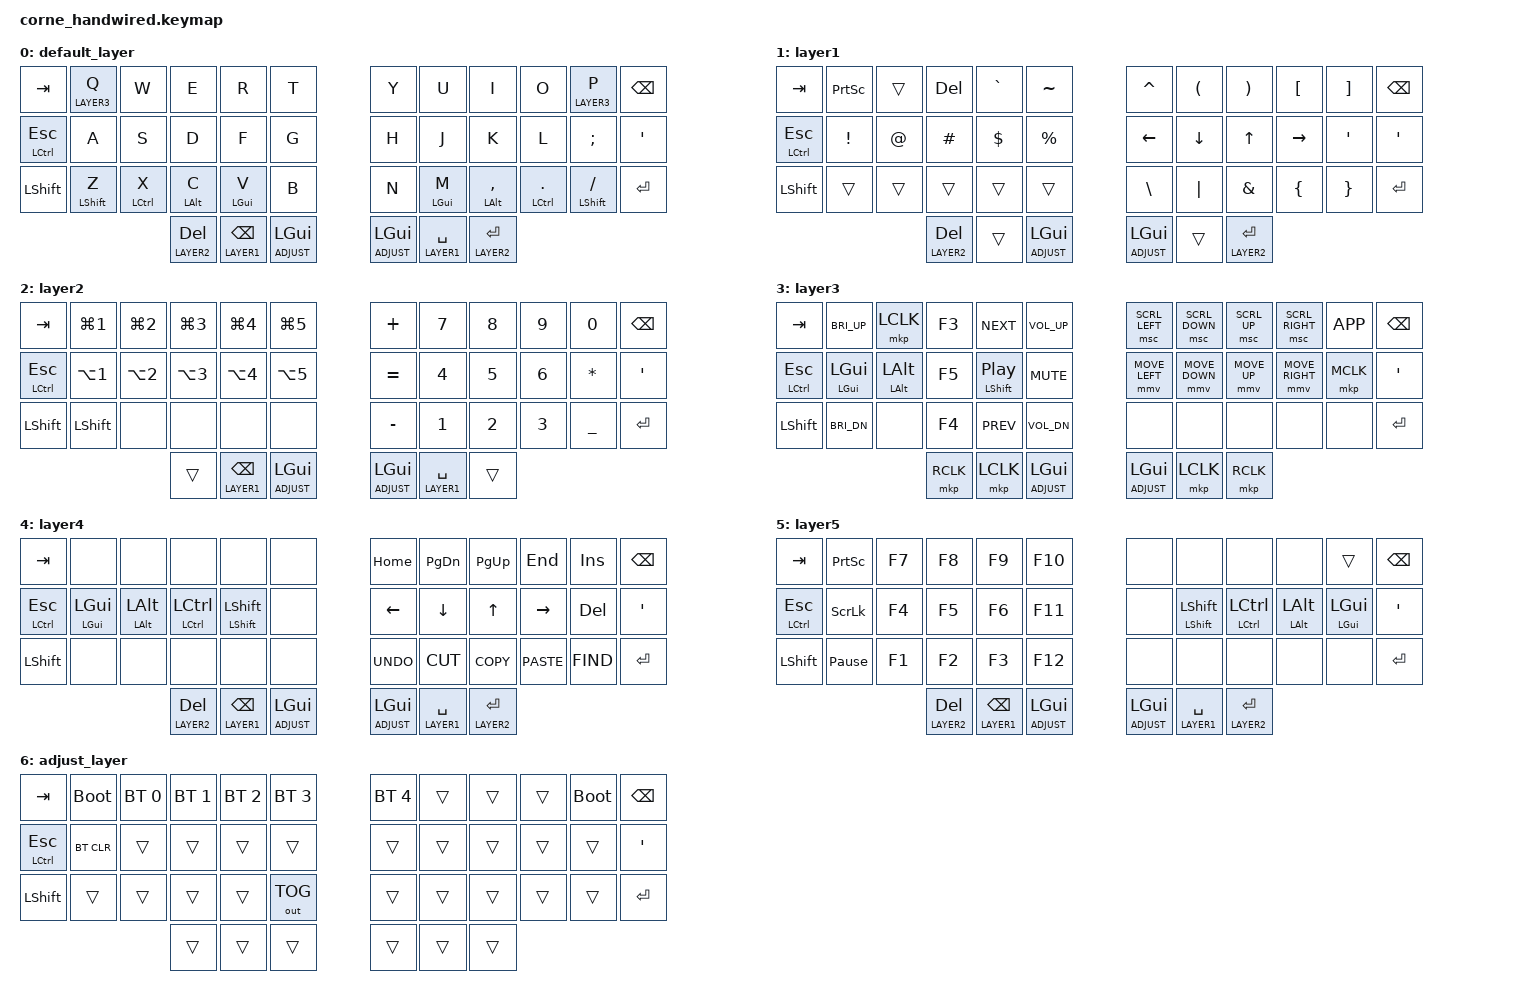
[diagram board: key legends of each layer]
/*
 * Corne Handwired Keymap
 */

#include <behaviors.dtsi>
#include <dt-bindings/zmk/keys.h>
#include <dt-bindings/zmk/bt.h>
#include <dt-bindings/zmk/outputs.h>
#include <dt-bindings/zmk/pointing.h>

#define DEFAULT 0
#define LAYER1  1
#define LAYER2  2
#define LAYER3  3
#define LAYER4  4
#define LAYER5  5
#define ADJUST  6

/ {
    macros {
        fat_arrow: fat_arrow {
            compatible = "zmk,behavior-macro";
            #binding-cells = <0>;
            bindings = <&kp EQUAL &kp GT>;
        };
    };

    keymap {
        compatible = "zmk,keymap";

        default_layer {
            // -----------------------------------------------------------------------------------------
            // |  TAB | L3/Q |  W  |  E  |  R  |  T  |   |  Y  |  U   |  I  |  O  | L3/P | BSPC |
            // | ESC/CTRL |  A  |  S  |  D  |  F  |  G  |   |  H  |  J   |  K  |  L  |  ;  |  '   |
            // | SHFT | SHFT/Z | CTRL/X | ALT/C | GUI/V |  B  |   |  N  | GUI/M | ALT/, | CTRL/. | SHFT// | RET  |
            //                    | L2/DEL | L1/BSPC | ADJ/GUI |   | ADJ/GUI | L1/SPC | L2/ENT |
            // Encoder button: play/pause | Encoder rotation: volume
            bindings = <
                &kp TAB       &lt LAYER3 Q &kp W &kp E &kp R &kp T     &kp Y &kp U &kp I     &kp O     &lt LAYER3 P    &kp BSPC
                &mt LCTRL ESC &kp A        &kp S &kp D &kp F &kp G     &kp H &kp J &kp K     &kp L     &kp SEMI        &kp SQT
                &kp LSHFT     &mt LSHFT Z  &mt LCTRL X &mt LEFT_ALT C &mt LGUI V &kp B     &kp N &mt LGUI M &mt LEFT_ALT COMMA &mt LCTRL DOT &mt LSHFT FSLH &kp RET
                                &lt LAYER2 DEL &lt LAYER1 BSPC &lt ADJUST LGUI   &lt ADJUST LGUI &lt LAYER1 SPACE &lt LAYER2 RET
            >;
        };

        layer1 {
            // -----------------------------------------------------------------------------------------
            // |  TAB | PSCR | TRNS | DEL | GRV | TILD |   | ^   | (   | )   | [   | ]   | BSPC |
            // | ESC/CTRL | !   | @   | #   | $   | %   |   | LFT | DWN | UP  | RGT | '   |  '   |
            // | SHFT | TRNS | TRNS | TRNS | TRNS | TRNS |   | \   | |   | &   | {   | }   | RET  |
            //                    | L2/DEL | L1/BSPC | ADJ/GUI |   | ADJ/GUI | L1/SPC | L2/ENT |
            // Encoder rotation: brightness
            bindings = <
                &kp TAB       &kp PSCRN &trans &kp DEL  &kp GRAVE &kp TILDE     &kp CARET &kp LPAR &kp RPAR &kp LBKT &kp RBKT &kp BSPC
                &mt LCTRL ESC &kp EXCL  &kp AT &kp HASH &kp DLLR  &kp PRCNT     &kp LEFT  &kp DOWN &kp UP   &kp RIGHT &kp SQT &kp SQT
                &kp LSHFT     &trans    &trans &trans   &trans    &trans        &kp BSLH  &kp PIPE &kp AMPS &kp LBRC &kp RBRC &kp RET
                                        &lt LAYER2 DEL &trans &lt ADJUST LGUI   &lt ADJUST LGUI &trans &lt LAYER2 RET
            >;
        };

        layer2 {
            // -----------------------------------------------------------------------------------------
            // |  TAB | GUI1 | GUI2 | GUI3 | GUI4 | GUI5 |   | +   | 7   | 8   | 9   | 0   | BSPC |
            // | ESC/CTRL | ALT1 | ALT2 | ALT3 | ALT4 | ALT5 |   | =   | 4   | 5   | 6   | *   |  '   |
            // | SHFT | SHFT | NONE | NONE | NONE | NONE |   | -   | 1   | 2   | 3   | _   | RET  |
            //                    | L2/DEL | L1/BSPC | ADJ/GUI |   | ADJ/GUI | L1/SPC | L2/ENT |
            bindings = <
                &kp TAB       &kp LG(N1) &kp LG(N2) &kp LG(N3) &kp LG(N4) &kp LG(N5)     &kp PLUS  &kp N7 &kp N8 &kp N9 &kp N0    &kp BSPC
                &mt LCTRL ESC &kp LA(N1) &kp LA(N2) &kp LA(N3) &kp LA(N4) &kp LA(N5)     &kp EQUAL &kp N4 &kp N5 &kp N6 &kp STAR  &kp SQT
                &kp LSHFT     &kp LSHFT  &none      &none      &none      &none          &kp MINUS &kp N1 &kp N2 &kp N3 &kp UNDER &kp RET
                                          &trans &lt LAYER1 BSPC &lt ADJUST LGUI   &lt ADJUST LGUI &lt LAYER1 SPACE &trans
            >;
        };

        layer3 {
            // -----------------------------------------------------------------------------------------
            // |  TAB | BRIU | LCLK | EXT_UP | MNXT | VOLU |   | WHLL | WHLD | WHLU | WHLR | APP  | BSPC |
            // | ESC/CTRL | GUI/TRNS | ALT/TRNS | EXT_DFL | SHFT/MPLY | MUTE |   | MLFT | MDWN | MUP  | MRGT | BTN3 |  '   |
            // | SHFT | BRID | NONE | EXT_DN | MPRV | VOLD |   | NONE | NONE | NONE | NONE | NONE | RET  |
            //                    | RCLK | LCLK | ADJ/GUI |   | ADJ/GUI | LCLK | RCLK |
            bindings = <
                &kp TAB       &kp C_BRI_UP &mkp LCLK &kp F3 &kp C_NEXT &kp C_VOL_UP     &msc SCRL_LEFT &msc SCRL_DOWN &msc SCRL_UP &msc SCRL_RIGHT &kp K_APP &kp BSPC
                &mt LCTRL ESC &mt LGUI LGUI &mt LEFT_ALT LEFT_ALT &kp F5 &mt LSHFT C_PP &kp C_MUTE     &mmv MOVE_LEFT &mmv MOVE_DOWN &mmv MOVE_UP &mmv MOVE_RIGHT &mkp MCLK &kp SQT
                &kp LSHFT     &kp C_BRI_DN &none &kp F4 &kp C_PREV &kp C_VOL_DN     &none &none &none &none &none &kp RET
                                          &mkp RCLK &mkp LCLK &lt ADJUST LGUI   &lt ADJUST LGUI &mkp LCLK &mkp RCLK
            >;
        };

        layer4 {
            // -----------------------------------------------------------------------------------------
            // |  TAB | NONE | NONE | NONE | NONE | NONE |   | HOME | PGDN | PGUP | END | INS | BSPC |
            // | ESC/CTRL | GUI/TRNS | ALT/TRNS | CTRL/TRNS | SHFT/TRNS | NONE |   | LEFT | DOWN | UP | RIGHT | DEL |  '   |
            // | SHFT | NONE | NONE | NONE | NONE | NONE |   | UNDO | CUT | COPY | PSTE | FIND | RET  |
            //                    | L2/DEL | L1/BSPC | ADJ/GUI |   | ADJ/GUI | L1/SPC | L2/ENT |
            bindings = <
                &kp TAB       &none &none &none &none &none     &kp HOME &kp PG_DN &kp PG_UP &kp END &kp INS &kp BSPC
                &mt LCTRL ESC &mt LGUI LGUI &mt LEFT_ALT LEFT_ALT &mt LCTRL LCTRL &mt LSHFT LSHFT &none     &kp LEFT &kp DOWN &kp UP &kp RIGHT &kp DEL &kp SQT
                &kp LSHFT     &none &none &none &none &none     &kp K_UNDO &kp K_CUT &kp K_COPY &kp K_PASTE &kp K_FIND &kp RET
                                          &lt LAYER2 DEL &lt LAYER1 BSPC &lt ADJUST LGUI   &lt ADJUST LGUI &lt LAYER1 SPACE &lt LAYER2 RET
            >;
        };

        layer5 {
            // -----------------------------------------------------------------------------------------
            // |  TAB | PSCR | F7  | F8  | F9  | F10 |   | NONE | NONE | NONE | NONE | TRNS | BSPC |
            // | ESC/CTRL | SLCK | F4  | F5  | F6  | F11 |   | NONE | SHFT/TRNS | CTRL/TRNS | ALT/TRNS | GUI/TRNS |  '   |
            // | SHFT | PAUS | F1  | F2  | F3  | F12 |   | NONE | NONE | NONE | NONE | NONE | RET  |
            //                    | L2/DEL | L1/BSPC | ADJ/GUI |   | ADJ/GUI | L1/SPC | L2/ENT |
            bindings = <
                &kp TAB       &kp PSCRN &kp F7 &kp F8 &kp F9 &kp F10     &none &none &none &none &trans &kp BSPC
                &mt LCTRL ESC &kp SLCK  &kp F4 &kp F5 &kp F6 &kp F11     &none &mt LSHFT LSHFT &mt LCTRL LCTRL &mt LEFT_ALT LEFT_ALT &mt LGUI LGUI &kp SQT
                &kp LSHFT     &kp PAUSE_BREAK &kp F1 &kp F2 &kp F3 &kp F12     &none &none &none &none &none &kp RET
                                          &lt LAYER2 DEL &lt LAYER1 BSPC &lt ADJUST LGUI   &lt ADJUST LGUI &lt LAYER1 SPACE &lt LAYER2 RET
            >;
        };

        adjust_layer {
            // -----------------------------------------------------------------------------------------
            // |  TAB | BOOTL | BT1 | BT2 | BT3 | BT4 |   | BT5 |     |     |     | BOOTR | BSPC |
            // | ESC/CTRL | BTCLR |     |     |     |     |   |     |     |     |     |     |  '   |
            // | SHFT |     |     |     |     |     |   |     |     |     |     |     | RET  |
            //                    |     |     |     |   |     |     |     |
            bindings = <
                &kp TAB   &bootloader &bt BT_SEL 0 &bt BT_SEL 1 &bt BT_SEL 2 &bt BT_SEL 3   &bt BT_SEL 4 &trans &trans &trans &bootloader &kp BSPC
                &mt LCTRL ESC &bt BT_CLR &trans       &trans       &trans       &trans         &trans      &trans &trans &trans &trans &kp SQT
                &kp LSHFT &trans       &trans       &trans       &trans       &out OUT_TOG   &trans      &trans &trans &trans &trans &kp RET
                                                     &trans       &trans       &trans         &trans      &trans &trans
            >;
        };
    };

    combos {
        compatible = "zmk,combos";

        combo_lbrc {
            timeout-ms = <50>;
            key-positions = <3 4>;
            bindings = <&kp LBKT>;
        };

        combo_rbrc {
            timeout-ms = <50>;
            key-positions = <7 8>;
            bindings = <&kp RBKT>;
        };


        combo_m_comma_minus {
            timeout-ms = <50>;
            key-positions = <31 32>;
            bindings = <&kp MINUS>;
        };

        combo_esc {
            timeout-ms = <50>;
            key-positions = <19 20>;
            bindings = <&kp ESC>;
        };

        combo_bspc {
            timeout-ms = <50>;
            key-positions = <20 21>;
            bindings = <&kp BSPC>;
        };

        combo_caps {
            timeout-ms = <50>;
            key-positions = <15 16>;
            bindings = <&kp CAPS>;
        };

        combo_tab {
            timeout-ms = <50>;
            key-positions = <14 15>;
            bindings = <&kp TAB>;
        };

        combo_dquo {
            timeout-ms = <50>;
            key-positions = <9 10>;
            bindings = <&kp DQT>;
        };

        combo_squo {
            timeout-ms = <50>;
            key-positions = <21 22>;
            bindings = <&kp SQT>;
        };

        combo_enter {
            timeout-ms = <50>;
            key-positions = <19 21>;
            bindings = <&kp RET>;
        };

        combo_layer5 {
            timeout-ms = <50>;
            key-positions = <37 38>;
            bindings = <&mo LAYER5>;
        };

        combo_fat_arrow {
            timeout-ms = <50>;
            key-positions = <16 17>;
            bindings = <&fat_arrow>;
        };

        combo_under {
            timeout-ms = <50>;
            key-positions = <32 33>;
            bindings = <&kp UNDER>;
        };


        combo_equal {
            timeout-ms = <50>;
            key-positions = <18 19>;
            bindings = <&kp EQUAL>;
        };

        combo_minus {
            timeout-ms = <50>;
            key-positions = <30 31>;
            bindings = <&kp MINUS>;
        };

        combo_plus {
            timeout-ms = <50>;
            key-positions = <6 7>;
            bindings = <&kp PLUS>;
        };

        combo_rpar {
            timeout-ms = <50>;
            key-positions = <8 9>;
            bindings = <&kp RPAR>;
        };

        combo_lpar {
            timeout-ms = <50>;
            key-positions = <2 3>;
            bindings = <&kp LPAR>;
        };
    };
};
